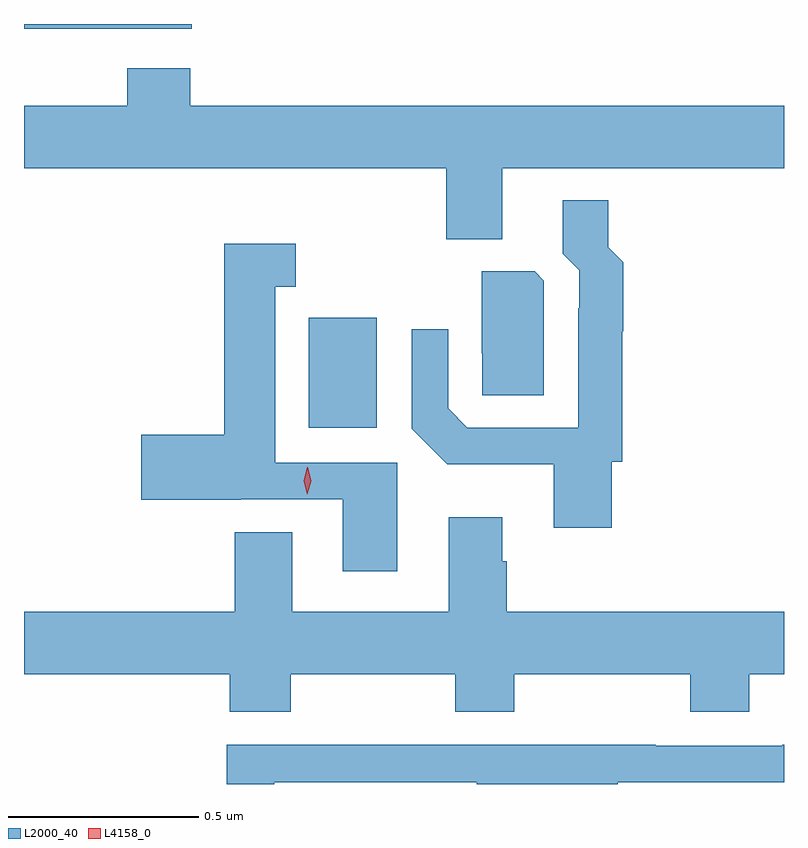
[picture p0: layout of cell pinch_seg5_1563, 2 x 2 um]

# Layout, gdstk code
import gdstk
lib = gdstk.Library(unit=1e-6, precision=1e-09)
def R(c, l, rs):  # rectangles x0, y0, x1, y1
    for r in rs: c.add(gdstk.rectangle(r[:2], r[2:], *l))
def P(c, l, *ps):  # polygons
    for p in ps: c.add(gdstk.Polygon(p, *l))
L2000_40 = (2000, 40)
L4158_0 = (4158, 0)

pinch_seg5_1563 = lib.new_cell('pinch_seg5_1563')
R(pinch_seg5_1563, L2000_40, [(352.718,845.42,352.897,845.71)])
P(pinch_seg5_1563, L2000_40, [(352.157,846.471),(352.411,846.471),(352.411,846.483),(351.969,846.483),(351.969,846.47),(352.157,846.47)],
  [(353.227,846.104),(353.969,846.104),(353.969,846.268),(352.406,846.268),(352.406,846.367),(352.241,846.367),(352.241,846.268),(351.969,846.268),(351.969,846.104),(353.08,846.104),(353.08,845.917),(353.227,845.917)],
  [(353.516,845.331),(353.543,845.331),(353.543,845.674),(353.546,845.674),(353.546,845.856),(353.507,845.895),(353.507,846.019),(353.387,846.019),(353.387,845.878),(353.43,845.835),(353.43,845.735),(353.427,845.735),(353.427,845.421),(353.136,845.421),(353.085,845.472),(353.085,845.68),(352.989,845.68),(352.989,845.418),(353.083,845.324),(353.363,845.324),(353.363,845.157),(353.516,845.157)],
  [(352.951,845.328),(352.63,845.328),(352.63,845.792),(352.684,845.792),(352.684,845.905),(352.496,845.905),(352.496,845.402),(352.278,845.402),(352.278,845.231),(352.539,845.231),(352.539,845.232),(352.808,845.232),(352.808,845.043),(352.951,845.043)],
  [(353.337,845.808),(353.313,845.832),(353.174,845.832),(353.174,845.617),(353.175,845.617),(353.175,845.506),(353.337,845.506)],
  [(352.671,844.772),(353.104,844.772),(353.104,844.673),(353.259,844.673),(353.259,844.772),(353.722,844.772),(353.722,844.673),(353.877,844.673),(353.877,844.772),(353.969,844.772),(353.969,844.936),(353.24,844.936),(353.24,845.069),(353.227,845.069),(353.227,845.185),(353.087,845.185),(353.087,844.936),(352.675,844.936),(352.675,845.146),(352.523,845.146),(352.523,844.936),(351.969,844.936),(351.969,844.772),(352.511,844.772),(352.511,844.673),(352.671,844.673)],
  [(352.627,844.488),(352.948,844.488),(352.948,844.487),(353.16,844.487),(353.16,844.483),(353.532,844.483),(353.532,844.488),(353.969,844.488),(353.969,844.586),(353.965,844.586),(353.965,844.584),(353.632,844.584),(353.632,844.586),(352.502,844.586),(352.502,844.483),(352.627,844.483)])
P(pinch_seg5_1563, L4158_0, [(352.715,845.246),(352.715,845.246),(352.705,845.281),(352.715,845.316),(352.716,845.316),(352.716,845.316),(352.725,845.281),(352.715,845.246)])

lib.write_gds('pinch_seg5_1563.gds')
